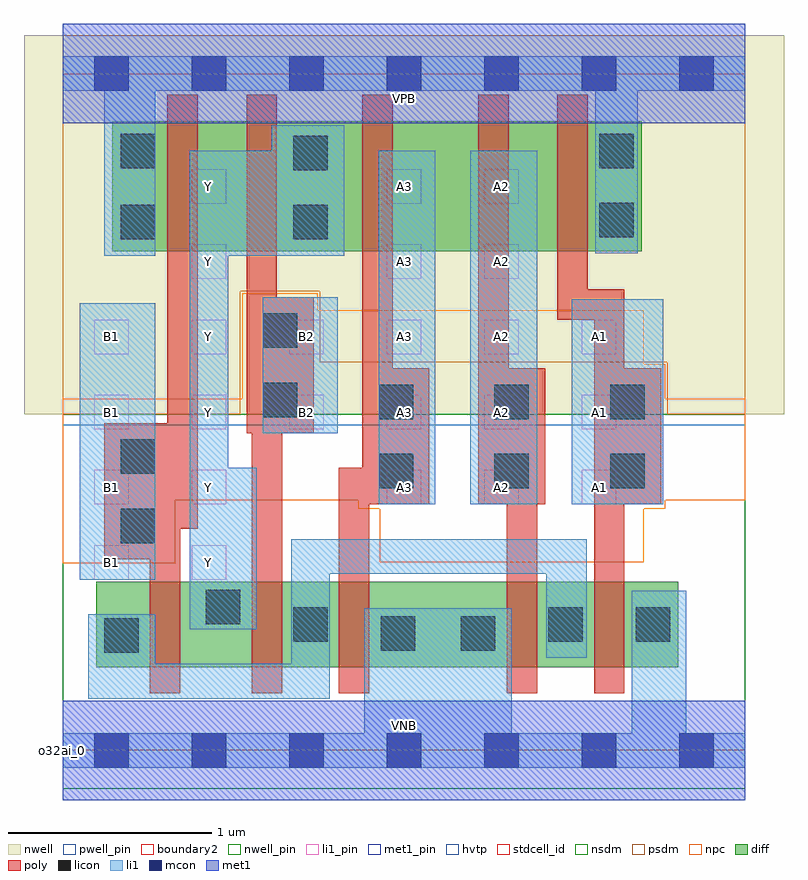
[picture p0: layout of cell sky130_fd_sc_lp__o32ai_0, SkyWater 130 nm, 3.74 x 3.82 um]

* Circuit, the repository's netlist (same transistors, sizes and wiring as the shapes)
* Copyright 2020 The SkyWater PDK Authors
*
* Licensed under the Apache License, Version 2.0 (the "License");
* you may not use this file except in compliance with the License.
* You may obtain a copy of the License at
*
*     https://www.apache.org/licenses/LICENSE-2.0
*
* Unless required by applicable law or agreed to in writing, software
* distributed under the License is distributed on an "AS IS" BASIS,
* WITHOUT WARRANTIES OR CONDITIONS OF ANY KIND, either express or implied.
* See the License for the specific language governing permissions and
* limitations under the License.
*
* SPDX-License-Identifier: Apache-2.0

.SUBCKT sky130_fd_sc_lp__o32ai_0 A1 A2 A3 B1 B2 VGND VNB VPB VPWR Y
*.PININFO A1:I A2:I A3:I B1:I B2:I VGND:I VNB:I VPB:I VPWR:I Y:O
MMPA0 VPWR A1 sndA1 VPB sky130_fd_pr__pfet_01v8_hvt m=1 w=0.64U l=0.15U mult=1
+ sa=0.265 sb=0.265 sd=0.28 area=0.063 perim=1.14
MMPA1 sndA1 A2 sndA2 VPB sky130_fd_pr__pfet_01v8_hvt m=1 w=0.64U l=0.15U mult=1
+ sa=0.265 sb=0.265 sd=0.28 area=0.063 perim=1.14
MMPA2 sndA2 A3 Y VPB sky130_fd_pr__pfet_01v8_hvt m=1 w=0.64U l=0.15U mult=1 sa=0.265
+ sb=0.265 sd=0.28 area=0.063 perim=1.14
MMPB0 VPWR B1 sndB1 VPB sky130_fd_pr__pfet_01v8_hvt m=1 w=0.64U l=0.15U mult=1
+ sa=0.265 sb=0.265 sd=0.28 area=0.063 perim=1.14
MMPB1 sndB1 B2 Y VPB sky130_fd_pr__pfet_01v8_hvt m=1 w=0.64U l=0.15U mult=1 sa=0.265
+ sb=0.265 sd=0.28 area=0.063 perim=1.14
MMNA0 pndA A1 VGND VNB sky130_fd_pr__nfet_01v8 m=1 w=0.42U l=0.15U mult=1 sa=0.265
+ sb=0.265 sd=0.28 area=0.063 perim=1.14
MMNA1 pndA A2 VGND VNB sky130_fd_pr__nfet_01v8 m=1 w=0.42U l=0.15U mult=1 sa=0.265
+ sb=0.265 sd=0.28 area=0.063 perim=1.14
MMNA2 pndA A3 VGND VNB sky130_fd_pr__nfet_01v8 m=1 w=0.42U l=0.15U mult=1 sa=0.265
+ sb=0.265 sd=0.28 area=0.063 perim=1.14
MMNB0 Y B1 pndA VNB sky130_fd_pr__nfet_01v8 m=1 w=0.42U l=0.15U mult=1 sa=0.265
+ sb=0.265 sd=0.28 area=0.063 perim=1.14
MMNB1 Y B2 pndA VNB sky130_fd_pr__nfet_01v8 m=1 w=0.42U l=0.15U mult=1 sa=0.265
+ sb=0.265 sd=0.28 area=0.063 perim=1.14
.ENDS sky130_fd_sc_lp__o32ai_0

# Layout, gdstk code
import gdstk
lib = gdstk.Library(unit=1e-6, precision=1e-09)
def R(c, l, rs):  # rectangles x0, y0, x1, y1
    for r in rs: c.add(gdstk.rectangle(r[:2], r[2:], *l))
def A(c, l, x, y, w, h, nx, ny, dx, dy):  # array of equal rectangles
    R(c, l, [(x+i*dx, y+j*dy, x+i*dx+w, y+j*dy+h) for i in range(nx) for j in range(ny)])
def P(c, l, *ps):  # polygons
    for p in ps: c.add(gdstk.Polygon(p, *l))
nwell_pin = (64, 16)
nwell = (64, 20)
diff = (65, 20)
poly = (66, 20)
licon = (66, 44)
li1_pin = (67, 16)
li1 = (67, 20)
mcon = (67, 44)
met1_pin = (68, 16)
met1 = (68, 20)
hvtp = (78, 44)
stdcell_id = (81, 4)
nsdm = (93, 44)
psdm = (94, 20)
npc = (95, 20)
pwell_pin = (122, 16)
boundary2 = (236, 0)

sky130_fd_sc_lp__o32ai_0 = lib.new_cell('sky130_fd_sc_lp__o32ai_0')
R(sky130_fd_sc_lp__o32ai_0, nwell_pin, [(0,3.085,3.36,3.33)])
R(sky130_fd_sc_lp__o32ai_0, nwell, [(-0.19,1.655,3.55,3.52)])
R(sky130_fd_sc_lp__o32ai_0, diff, [(0.165,0.41,3.03,0.83), (0.245,2.455,2.85,3.095)])
P(sky130_fd_sc_lp__o32ai_0, poly, [(1.805,1.88),(1.625,1.88),(1.625,3.225),(1.475,3.225),(1.475,1.39),(1.36,1.39),(1.36,0.28),(1.51,0.28),(1.51,1.21),(1.805,1.21)],
  [(2.375,1.88),(2.195,1.88),(2.195,3.225),(2.045,3.225),(2.045,1.21),(2.185,1.21),(2.185,0.28),(2.335,0.28),(2.335,1.21),(2.375,1.21)],
  [(2.945,1.88),(2.765,1.88),(2.765,2.27),(2.585,2.27),(2.585,3.225),(2.435,3.225),(2.435,2.12),(2.615,2.12),(2.615,0.28),(2.765,0.28),(2.765,1.21),(2.945,1.21)],
  [(0.665,3.225),(0.515,3.225),(0.515,1.61),(0.205,1.61),(0.205,0.94),(0.43,0.94),(0.43,0.28),(0.58,0.28),(0.58,1.09),(0.665,1.09)],
  [(1.235,2.23),(1.055,2.23),(1.055,3.225),(0.905,3.225),(0.905,1.56),(0.93,1.56),(0.93,0.28),(1.08,0.28),(1.08,1.56),(1.235,1.56)])
A(sky130_fd_sc_lp__o32ai_0, licon, 1.555, 1.29, 0.17, 0.17, 3, 2, 0.57, 0.34)
R(sky130_fd_sc_lp__o32ai_0, licon, [(0.205,0.48,0.375,0.65), (1.565,0.49,1.735,0.66), (1.96,0.49,2.13,0.66), (1.135,0.535,1.305,0.705), (2.39,0.535,2.56,0.705), (2.82,0.535,2.99,0.705), (0.705,0.62,0.875,0.79), (0.285,1.02,0.455,1.19), (0.285,1.36,0.455,1.53), (0.985,1.64,1.155,1.81), (0.985,1.98,1.155,2.15), (0.285,2.515,0.455,2.685), (1.135,2.515,1.305,2.685), (2.64,2.525,2.81,2.695), (1.135,2.855,1.305,3.025), (0.285,2.865,0.455,3.035), (2.64,2.865,2.81,3.035)])
A(sky130_fd_sc_lp__o32ai_0, li1_pin, 1.595, 1.21, 0.17, 0.17, 3, 1, 0.48, 0)
A(sky130_fd_sc_lp__o32ai_0, li1_pin, 0.155, 1.58, 0.17, 0.17, 6, 2, 0.48, 0.37)
R(sky130_fd_sc_lp__o32ai_0, li1_pin, [(0.155,0.84,0.325,1.01), (0.635,0.84,0.805,1.01), (0.155,1.21,0.325,1.38), (0.635,1.21,0.805,1.38), (0.635,2.32,0.805,2.49), (1.595,2.32,1.765,2.49), (2.075,2.32,2.245,2.49), (0.635,2.69,0.805,2.86), (1.595,2.69,1.765,2.86), (2.075,2.69,2.245,2.86)])
R(sky130_fd_sc_lp__o32ai_0, li1, [(0.085,0.84,0.455,2.2), (1.555,1.21,1.835,2.95), (2.005,1.21,2.335,2.95), (2.505,1.21,2.955,2.22), (0.985,1.56,1.355,2.23)])
P(sky130_fd_sc_lp__o32ai_0, li1, [(2.58,1.04),(1.125,1.04),(1.125,0.425),(0.455,0.425),(0.455,0.67),(0.125,0.67),(0.125,0.255),(1.315,0.255),(1.315,0.87),(2.38,0.87),(2.38,0.455),(2.58,0.455)],
  [(1.385,3.075),(1.03,3.075),(1.03,2.95),(0.625,2.95),(0.625,0.595),(0.955,0.595),(0.955,1.39),(0.815,1.39),(0.815,2.435),(1.385,2.435)],
  [(3.36,0.085),(3.07,0.085),(3.07,0.785),(2.8,0.785),(2.8,0.085),(2.21,0.085),(2.21,0.7),(1.485,0.7),(1.485,0.085),(0,0.085),(0,-0.085),(3.36,-0.085)],
  [(3.36,3.415),(0,3.415),(0,3.245),(0.205,3.245),(0.205,2.435),(0.455,2.435),(0.455,3.245),(2.62,3.245),(2.62,2.445),(2.83,2.445),(2.83,3.245),(3.36,3.245)])
A(sky130_fd_sc_lp__o32ai_0, mcon, 0.155, -0.085, 0.17, 0.17, 7, 2, 0.48, 3.33)
R(sky130_fd_sc_lp__o32ai_0, met1_pin, [(0,0,3.36,0.245), (0,3.085,3.36,3.33)])
R(sky130_fd_sc_lp__o32ai_0, met1, [(0,-0.245,3.36,0.245), (0,3.085,3.36,3.575)])
R(sky130_fd_sc_lp__o32ai_0, hvtp, [(0,1.6,3.36,3.33)])
R(sky130_fd_sc_lp__o32ai_0, stdcell_id, [(0,0,3.36,3.33)])
R(sky130_fd_sc_lp__o32ai_0, nsdm, [(0,-0.19,3.36,1.655)])
P(sky130_fd_sc_lp__o32ai_0, psdm, [(3.36,3.52),(0,3.52),(0,1.655),(0.875,1.655),(0.875,2.26),(1.265,2.26),(1.265,1.91),(2.975,1.91),(2.975,1.655),(3.36,1.655)])
P(sky130_fd_sc_lp__o32ai_0, npc, [(3.36,1.73),(2.965,1.73),(2.965,1.9),(2.86,1.9),(2.86,2.165),(1.255,2.165),(1.255,2.25),(0.885,2.25),(0.885,1.73),(0,1.73),(0,0.92),(0.555,0.92),(0.555,1.23),(1.455,1.23),(1.455,1.19),(1.56,1.19),(1.56,0.925),(2.86,0.925),(2.86,1.19),(2.965,1.19),(2.965,1.23),(3.36,1.23)])
R(sky130_fd_sc_lp__o32ai_0, pwell_pin, [(0,0,3.36,0.245)])
R(sky130_fd_sc_lp__o32ai_0, boundary2, [(0,0,3.36,3.33)])
sky130_fd_sc_lp__o32ai_0.add(gdstk.Label('VNB', (1.68,0.123), layer=64, texttype=59))
sky130_fd_sc_lp__o32ai_0.add(gdstk.Label('VPB', (1.68,3.208), layer=64, texttype=5))
sky130_fd_sc_lp__o32ai_0.add(gdstk.Label('o32ai_0', (0,0), layer=83, texttype=44))
sky130_fd_sc_lp__o32ai_0.add(gdstk.Label('VPWR', (1.68,3.208), layer=68, texttype=5))
sky130_fd_sc_lp__o32ai_0.add(gdstk.Label('VGND', (1.68,0.123), layer=68, texttype=5))
sky130_fd_sc_lp__o32ai_0.add(gdstk.Label('A1', (2.64,1.295), layer=67, texttype=5))
sky130_fd_sc_lp__o32ai_0.add(gdstk.Label('A1', (2.64,1.665), layer=67, texttype=5))
sky130_fd_sc_lp__o32ai_0.add(gdstk.Label('A1', (2.64,2.035), layer=67, texttype=5))
sky130_fd_sc_lp__o32ai_0.add(gdstk.Label('A2', (2.16,1.295), layer=67, texttype=5))
sky130_fd_sc_lp__o32ai_0.add(gdstk.Label('A2', (2.16,1.665), layer=67, texttype=5))
sky130_fd_sc_lp__o32ai_0.add(gdstk.Label('A2', (2.16,2.035), layer=67, texttype=5))
sky130_fd_sc_lp__o32ai_0.add(gdstk.Label('A2', (2.16,2.405), layer=67, texttype=5))
sky130_fd_sc_lp__o32ai_0.add(gdstk.Label('A2', (2.16,2.775), layer=67, texttype=5))
sky130_fd_sc_lp__o32ai_0.add(gdstk.Label('A3', (1.68,1.295), layer=67, texttype=5))
sky130_fd_sc_lp__o32ai_0.add(gdstk.Label('A3', (1.68,1.665), layer=67, texttype=5))
sky130_fd_sc_lp__o32ai_0.add(gdstk.Label('A3', (1.68,2.035), layer=67, texttype=5))
sky130_fd_sc_lp__o32ai_0.add(gdstk.Label('A3', (1.68,2.405), layer=67, texttype=5))
sky130_fd_sc_lp__o32ai_0.add(gdstk.Label('A3', (1.68,2.775), layer=67, texttype=5))
sky130_fd_sc_lp__o32ai_0.add(gdstk.Label('B1', (0.24,0.925), layer=67, texttype=5))
sky130_fd_sc_lp__o32ai_0.add(gdstk.Label('B1', (0.24,1.295), layer=67, texttype=5))
sky130_fd_sc_lp__o32ai_0.add(gdstk.Label('B1', (0.24,1.665), layer=67, texttype=5))
sky130_fd_sc_lp__o32ai_0.add(gdstk.Label('B1', (0.24,2.035), layer=67, texttype=5))
sky130_fd_sc_lp__o32ai_0.add(gdstk.Label('B2', (1.2,1.665), layer=67, texttype=5))
sky130_fd_sc_lp__o32ai_0.add(gdstk.Label('B2', (1.2,2.035), layer=67, texttype=5))
sky130_fd_sc_lp__o32ai_0.add(gdstk.Label('Y', (0.72,0.925), layer=67, texttype=5))
sky130_fd_sc_lp__o32ai_0.add(gdstk.Label('Y', (0.72,1.295), layer=67, texttype=5))
sky130_fd_sc_lp__o32ai_0.add(gdstk.Label('Y', (0.72,2.775), layer=67, texttype=5))
sky130_fd_sc_lp__o32ai_0.add(gdstk.Label('Y', (0.72,2.405), layer=67, texttype=5))
sky130_fd_sc_lp__o32ai_0.add(gdstk.Label('Y', (0.72,2.035), layer=67, texttype=5))
sky130_fd_sc_lp__o32ai_0.add(gdstk.Label('Y', (0.72,1.665), layer=67, texttype=5))

lib.write_gds('sky130_fd_sc_lp__o32ai_0.gds')
